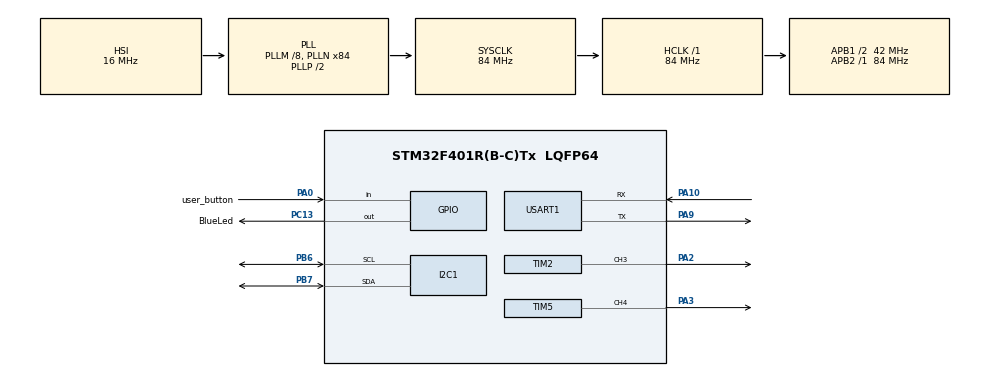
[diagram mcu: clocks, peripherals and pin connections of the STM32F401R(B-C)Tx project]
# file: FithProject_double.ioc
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I2C1.AddressingMode=I2C_ADDRESSINGMODE_7BIT
I2C1.OwnAddress=0x10
Mcu.Family=STM32F4
Mcu.Name=STM32F401R(B-C)Tx
Mcu.Package=LQFP64
NVIC.I2C1_ER_IRQn=true\:0\:0\:false\:false\:true\:true\:true\:true
NVIC.I2C1_EV_IRQn=true\:0\:0\:false\:false\:true\:true\:true\:true
NVIC.PriorityGroup=NVIC_PRIORITYGROUP_4
NVIC.TIM1_CC_IRQn=true\:0\:0\:false\:false\:true\:true\:true\:true
PA0-WKUP.GPIO_Label=user_button
PA0-WKUP.GPIO_PuPd=GPIO_PULLUP
PA0-WKUP.Signal=GPIO_Input
PA10.Mode=Asynchronous
PA10.Signal=USART1_RX
PA13.Mode=Serial_Wire
PA13.Signal=SYS_JTMS-SWDIO
PA14.Mode=Serial_Wire
PA14.Signal=SYS_JTCK-SWCLK
PA2.Signal=S_TIM2_CH3
PA3.Signal=S_TIM5_CH4
PA9.Mode=Asynchronous
PA9.Signal=USART1_TX
PB6.GPIO_Pu=GPIO_PULLUP
PB6.Mode=I2C
PB6.Signal=I2C1_SCL
PB7.GPIO_Pu=GPIO_PULLUP
PB7.Mode=I2C
PB7.Signal=I2C1_SDA
PC13-ANTI_TAMP.GPIO_Label=BlueLed
PC13-ANTI_TAMP.Signal=GPIO_Output
PH0\ -\ OSC_IN.Mode=HSE-External-Oscillator
PH0\ -\ OSC_IN.Signal=RCC_OSC_IN
PH1\ -\ OSC_OUT.Mode=HSE-External-Oscillator
PH1\ -\ OSC_OUT.Signal=RCC_OSC_OUT
ProjectManager.HeapSize=0x200
ProjectManager.StackSize=0x400
ProjectManager.TargetToolchain=STM32CubeIDE
RCC.48MHZClocksFreq_Value=42000000
RCC.AHBFreq_Value=84000000
RCC.APB1CLKDivider=RCC_HCLK_DIV2
RCC.APB1Freq_Value=42000000
RCC.APB1TimFreq_Value=84000000
RCC.APB2Freq_Value=84000000
RCC.APB2TimFreq_Value=84000000
RCC.CortexFreq_Value=84000000
RCC.HCLKFreq_Value=84000000
RCC.HSE_VALUE=25000000
RCC.HSI_VALUE=16000000
RCC.LSE_VALUE=32768
RCC.PLLM=8
RCC.PLLN=84
RCC.SYSCLKFreq_VALUE=84000000
RCC.SYSCLKSource=RCC_SYSCLKSOURCE_PLLCLK
RCC.VCOOutputFreq_Value=168000000
SH.S_TIM2_CH3.0=TIM2_CH3,Output Compare3 CH3
SH.S_TIM5_CH4.0=TIM5_CH4,Output Compare4 CH4
TIM1.Channel-Output\ Compare1\ No\ Output=TIM_CHANNEL_1
TIM1.Period=8400-1
TIM1.Prescaler=10000-1
TIM2.Channel-Output\ Compare3\ CH3=TIM_CHANNEL_3
TIM2.OCMode_3=TIM_OCMODE_TOGGLE
TIM2.Period=600000
TIM2.Prescaler=7
TIM5.Channel-Output\ Compare4\ CH4=TIM_CHANNEL_4
TIM5.OCMode_4=TIM_OCMODE_TOGGLE
TIM5.Period=600000
TIM5.Prescaler=7
USART1.VirtualMode=VM_ASYNC
VP_TIM1_VS_ClockSourceINT.Mode=Internal
VP_TIM1_VS_no_output1.Mode=Output Compare1 No Output
VP_TIM2_VS_ClockSourceINT.Mode=Internal
VP_TIM5_VS_ClockSourceINT.Mode=Internal
board=custom

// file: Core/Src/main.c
/* USER CODE BEGIN Header */
/*

   Первый байт - тип посылки. 0x10 - данные, 0x30 - команда
   длина всегда фиксированная - ШЕСТЬ байт. (тип, 4 нагрузки и псввдоCRC)

*/

/* USER CODE END Header */
#include "main.h"

/* USER CODE BEGIN Includes */

#include <stdio.h>
#include <string.h>

#include <inttypes.h>
#include <stdarg.h>

#include <i2c_slave_u.h>
#include <speed_man.h>

//for printf
#include  <errno.h>
#include  <sys/unistd.h> // STDOUT_FILENO, STDERR_FILENO
/* size_t *strlen (const char *str); */

/* USER CODE END Includes */

/* USER CODE BEGIN PTD */

/* USER CODE BEGIN PD */

/* Buffer used for transmission */

/* Buffer used for reception */

/* USER CODE END PTD */

/* USER CODE BEGIN PD */
#define MASTER_W_CMD 0x77

/* USER CODE END PTD */

/* Private define ------------------------------------------------------------*/
/* USER CODE BEGIN PD */

uint8_t pseudo_checksum(uint8_t *array, uint32_t size);

/* USER CODE END PD */

I2C_HandleTypeDef hi2c1;

TIM_HandleTypeDef htim1;
TIM_HandleTypeDef htim2;
TIM_HandleTypeDef htim5;

UART_HandleTypeDef huart1;

#define COUNTOF(__BUFFER__)   (sizeof(__BUFFER__) / sizeof(*(__BUFFER__)))
#define TXBUFFERSIZE                      (COUNTOF(aTxBuffer))
#define RXBUFFERSIZE                      TXBUFFERSIZE
//TODO 5 isn't correct

#define BufferSIZE 5

uint8_t i2c_received = 0 ;

uint8_t not_i2c_buffer[BufferSIZE];

uint8_t device_addr = 0x10; //I2C_DEVICE_ADDRESS;

uint8_t secu_tick = 0;

uint16_t receive_counters[]  = {0, 0};

whl_chnl *whl_arr[2];

void SystemClock_Config(void);
static void MX_GPIO_Init(void);
static void MX_I2C1_Init(void);
static void MX_TIM2_Init(void);
static void MX_TIM5_Init(void);
static void MX_USART1_UART_Init(void);
static void MX_TIM1_Init(void);

/* USER CODE BEGIN 0 */

// this is for printf

int _write(int file, char *data, int len)
{
   if ((file != STDOUT_FILENO) && (file != STDERR_FILENO))
   {
      errno = EBADF;
      return -1;
   }

   // arbitrary timeout 1000
   HAL_StatusTypeDef status =
      HAL_UART_Transmit(&huart1, (uint8_t*)data, len, 1000);

   // return # of bytes written - as best we can tell
   return (status == HAL_OK ? len : 0);
}

void HAL_TIM_PeriodElapsedCallback(TIM_HandleTypeDef *htim)
{

    /* uint8_t test_str[] = "Ticki\r\n\0"; */

    if (htim->Instance == TIM1) {
        secu_tick = 1;
        /* HAL_UART_Transmit(&huart1, test_str, strlen((char *)test_str), 30); */
    }

    /* else if (htim->Instance == TIM2) { */
        /* HAL_GPIO_TogglePin(GPIOA, GPIO_PIN_0); */
    /* } */
    /* else if (htim->Instance == TIM5) { */
        /* HAL_GPIO_TogglePin(GPIOA, GPIO_PIN_1); */
    /* } */

}

uint8_t pseudo_checksum(uint8_t *array, uint32_t size)
{
    uint8_t cs = 0;

    while (size--) cs ^= *array++;

    /* printf("int: %d\t\n", cs); */
    return cs;
}

/* USER CODE END 0 */

int main(void)
{

  /* MCU Configuration--------------------------------------------------------*/

  /* Reset of all peripherals, Initializes the Flash interface and the Systick. */
  HAL_Init();

  /* USER CODE BEGIN Init */

  /* RCC->APB1ENR |= (1<<21);  // enable I2C CLOCK */
  /* RCC->AHB1ENR |= (1<<1);  // Enable GPIOB CLOCK */

  /* USER CODE END Init */

  /* Configure the system clock */
  SystemClock_Config();

  /* Initialize all configured peripherals */
  MX_GPIO_Init();
  MX_I2C1_Init();
  MX_TIM1_Init();
  MX_TIM2_Init();
  MX_TIM5_Init();
  MX_USART1_UART_Init();
  /* USER CODE BEGIN 2 */

    HAL_TIM_Base_Start_IT(&htim1);
    HAL_TIM_Base_Start_IT(&htim2);
    HAL_TIM_Base_Start_IT(&htim5);

    HAL_TIM_OC_Start_IT(&htim1, TIM_CHANNEL_1);
    HAL_TIM_OC_Start_IT(&htim2, TIM_CHANNEL_3);
    HAL_TIM_OC_Start_IT(&htim5, TIM_CHANNEL_4);

  if(HAL_I2C_EnableListen_IT(&hi2c1) != HAL_OK)
  {
    /* Transfer error in reception process */
    Error_Handler();
  }

    printf("Uart Debug through printf is active\n");

  /* USER CODE END 2 */

  /* Infinite loop */
  /* USER CODE BEGIN WHILE */

    /* int arr_WhRPMs[] = {0, 0}; */

    uint8_t chsum;
    /* uint8_t test; */
    /* test = 1; */

    whl_chnl fl_whl_s = {numXL, &htim2, 0, 12, 0, 0};
    whl_chnl *p_xl_whl;
    p_xl_whl = &fl_whl_s;

    whl_chnl rr_whl_s = {numXR, &htim5, 0, 12, 0, 0};
    whl_chnl *p_xr_whl;
    p_xr_whl = &rr_whl_s;

    whl_arr[numXL] = p_xl_whl;
    whl_arr[numXR] = p_xr_whl;

    /* uint8_t testbuf[] = {10, 20, 30, 40, 50}; */

  while (1)
  {
    /* USER CODE END WHILE */

    /* USER CODE BEGIN 3 */
      if (i2c_received == 1){
          i2c_received = 0;

      /* HAL_Delay(100); */

        /* HAL_UART_Transmit(&huart1, test_, strlen((char *)test_), 30); */

      /* if (test == 1){ */

        chsum = pseudo_checksum(not_i2c_buffer, 5);
        /* printf("sum: %d\n\t", chsum); */

        if (chsum == not_i2c_buffer[5]){
            /* printf("correct\t\n"); */

            /* printf("noT\n\t"); */
            receive_counters[1] ++ ;

            //здесь полезная работа. Вызов функций
            if (not_i2c_buffer[0] == MASTER_W_CMD){
                // обрабатываю

                // пропускаю первый элемент (тип команды).
            TWI_deal(not_i2c_buffer);

            }
            else if (not_i2c_buffer[0] == 0x30){
            }
            else{
                //добавить обработчик/регистратор ошибок
            }
        }
        else{
            /* printf("badly_written\t\n"); */
            receive_counters[0] ++ ;
        }
      }

    if (secu_tick == 1){
        printf("res ok: %d, troubles: %d\n\r",  receive_counters[1], receive_counters[0]);
        receive_counters[0]  = 0;
        receive_counters[1]  = 0;

        secu_tick = 0;

    }

  }
  /* USER CODE END 3 */
}

void SystemClock_Config(void)
{
  RCC_OscInitTypeDef RCC_OscInitStruct = {0};
  RCC_ClkInitTypeDef RCC_ClkInitStruct = {0};

  /** Configure the main internal regulator output voltage
  */
  __HAL_RCC_PWR_CLK_ENABLE();
  __HAL_PWR_VOLTAGESCALING_CONFIG(PWR_REGULATOR_VOLTAGE_SCALE2);

  /** Initializes the RCC Oscillators according to the specified parameters
  * in the RCC_OscInitTypeDef structure.
  */
  RCC_OscInitStruct.OscillatorType = RCC_OSCILLATORTYPE_HSI;
  RCC_OscInitStruct.HSIState = RCC_HSI_ON;
  RCC_OscInitStruct.HSICalibrationValue = RCC_HSICALIBRATION_DEFAULT;
  RCC_OscInitStruct.PLL.PLLState = RCC_PLL_ON;
  RCC_OscInitStruct.PLL.PLLSource = RCC_PLLSOURCE_HSI;
  RCC_OscInitStruct.PLL.PLLM = 8;
  RCC_OscInitStruct.PLL.PLLN = 84;
  RCC_OscInitStruct.PLL.PLLP = RCC_PLLP_DIV2;
  RCC_OscInitStruct.PLL.PLLQ = 4;
  if (HAL_RCC_OscConfig(&RCC_OscInitStruct) != HAL_OK)
  {
    Error_Handler();
  }

  /** Initializes the CPU, AHB and APB buses clocks
  */
  RCC_ClkInitStruct.ClockType = RCC_CLOCKTYPE_HCLK|RCC_CLOCKTYPE_SYSCLK
                              |RCC_CLOCKTYPE_PCLK1|RCC_CLOCKTYPE_PCLK2;
  RCC_ClkInitStruct.SYSCLKSource = RCC_SYSCLKSOURCE_PLLCLK;
  RCC_ClkInitStruct.AHBCLKDivider = RCC_SYSCLK_DIV1;
  RCC_ClkInitStruct.APB1CLKDivider = RCC_HCLK_DIV2;
  RCC_ClkInitStruct.APB2CLKDivider = RCC_HCLK_DIV1;

  if (HAL_RCC_ClockConfig(&RCC_ClkInitStruct, FLASH_LATENCY_2) != HAL_OK)
  {
    Error_Handler();
  }
}

static void MX_I2C1_Init(void)
{

  hi2c1.Instance = I2C1;
  hi2c1.Init.ClockSpeed = 100000;
  hi2c1.Init.DutyCycle = I2C_DUTYCYCLE_2;
  hi2c1.Init.OwnAddress1 = 32;
  hi2c1.Init.AddressingMode = I2C_ADDRESSINGMODE_7BIT;
  hi2c1.Init.DualAddressMode = I2C_DUALADDRESS_DISABLE;
  hi2c1.Init.OwnAddress2 = 0;
  hi2c1.Init.GeneralCallMode = I2C_GENERALCALL_DISABLE;
  hi2c1.Init.NoStretchMode = I2C_NOSTRETCH_DISABLE;
  if (HAL_I2C_Init(&hi2c1) != HAL_OK)
  {
    Error_Handler();
  }

}

static void MX_TIM1_Init(void)
{

  TIM_ClockConfigTypeDef sClockSourceConfig = {0};
  TIM_MasterConfigTypeDef sMasterConfig = {0};
  TIM_OC_InitTypeDef sConfigOC = {0};
  TIM_BreakDeadTimeConfigTypeDef sBreakDeadTimeConfig = {0};

  htim1.Instance = TIM1;
  htim1.Init.Prescaler = 10000-1;
  htim1.Init.CounterMode = TIM_COUNTERMODE_UP;
  htim1.Init.Period = 8400-1;
  htim1.Init.ClockDivision = TIM_CLOCKDIVISION_DIV1;
  htim1.Init.RepetitionCounter = 0;
  htim1.Init.AutoReloadPreload = TIM_AUTORELOAD_PRELOAD_DISABLE;
  if (HAL_TIM_Base_Init(&htim1) != HAL_OK)
  {
    Error_Handler();
  }
  sClockSourceConfig.ClockSource = TIM_CLOCKSOURCE_INTERNAL;
  if (HAL_TIM_ConfigClockSource(&htim1, &sClockSourceConfig) != HAL_OK)
  {
    Error_Handler();
  }
  if (HAL_TIM_OC_Init(&htim1) != HAL_OK)
  {
    Error_Handler();
  }
  sMasterConfig.MasterOutputTrigger = TIM_TRGO_RESET;
  sMasterConfig.MasterSlaveMode = TIM_MASTERSLAVEMODE_DISABLE;
  if (HAL_TIMEx_MasterConfigSynchronization(&htim1, &sMasterConfig) != HAL_OK)
  {
    Error_Handler();
  }
  sConfigOC.OCMode = TIM_OCMODE_TIMING;
  sConfigOC.Pulse = 0;
  sConfigOC.OCPolarity = TIM_OCPOLARITY_HIGH;
  sConfigOC.OCNPolarity = TIM_OCNPOLARITY_HIGH;
  sConfigOC.OCFastMode = TIM_OCFAST_DISABLE;
  sConfigOC.OCIdleState = TIM_OCIDLESTATE_RESET;
  sConfigOC.OCNIdleState = TIM_OCNIDLESTATE_RESET;
  if (HAL_TIM_OC_ConfigChannel(&htim1, &sConfigOC, TIM_CHANNEL_1) != HAL_OK)
  {
    Error_Handler();
  }
  sBreakDeadTimeConfig.OffStateRunMode = TIM_OSSR_DISABLE;
  sBreakDeadTimeConfig.OffStateIDLEMode = TIM_OSSI_DISABLE;
  sBreakDeadTimeConfig.LockLevel = TIM_LOCKLEVEL_OFF;
  sBreakDeadTimeConfig.DeadTime = 0;
  sBreakDeadTimeConfig.BreakState = TIM_BREAK_DISABLE;
  sBreakDeadTimeConfig.BreakPolarity = TIM_BREAKPOLARITY_HIGH;
  sBreakDeadTimeConfig.AutomaticOutput = TIM_AUTOMATICOUTPUT_DISABLE;
  if (HAL_TIMEx_ConfigBreakDeadTime(&htim1, &sBreakDeadTimeConfig) != HAL_OK)
  {
    Error_Handler();
  }

}

static void MX_TIM2_Init(void)
{

  TIM_ClockConfigTypeDef sClockSourceConfig = {0};
  TIM_MasterConfigTypeDef sMasterConfig = {0};
  TIM_OC_InitTypeDef sConfigOC = {0};

  htim2.Instance = TIM2;
  htim2.Init.Prescaler = 7;
  htim2.Init.CounterMode = TIM_COUNTERMODE_UP;
  htim2.Init.Period = 600000;
  htim2.Init.ClockDivision = TIM_CLOCKDIVISION_DIV1;
  htim2.Init.AutoReloadPreload = TIM_AUTORELOAD_PRELOAD_DISABLE;
  if (HAL_TIM_Base_Init(&htim2) != HAL_OK)
  {
    Error_Handler();
  }
  sClockSourceConfig.ClockSource = TIM_CLOCKSOURCE_INTERNAL;
  if (HAL_TIM_ConfigClockSource(&htim2, &sClockSourceConfig) != HAL_OK)
  {
    Error_Handler();
  }
  if (HAL_TIM_OC_Init(&htim2) != HAL_OK)
  {
    Error_Handler();
  }
  sMasterConfig.MasterOutputTrigger = TIM_TRGO_RESET;
  sMasterConfig.MasterSlaveMode = TIM_MASTERSLAVEMODE_DISABLE;
  if (HAL_TIMEx_MasterConfigSynchronization(&htim2, &sMasterConfig) != HAL_OK)
  {
    Error_Handler();
  }
  sConfigOC.OCMode = TIM_OCMODE_TOGGLE;
  sConfigOC.Pulse = 0;
  sConfigOC.OCPolarity = TIM_OCPOLARITY_HIGH;
  sConfigOC.OCFastMode = TIM_OCFAST_DISABLE;
  if (HAL_TIM_OC_ConfigChannel(&htim2, &sConfigOC, TIM_CHANNEL_3) != HAL_OK)
  {
    Error_Handler();
  }
  HAL_TIM_MspPostInit(&htim2);

}

static void MX_TIM5_Init(void)
{

  TIM_ClockConfigTypeDef sClockSourceConfig = {0};
  TIM_MasterConfigTypeDef sMasterConfig = {0};
  TIM_OC_InitTypeDef sConfigOC = {0};

  htim5.Instance = TIM5;
  htim5.Init.Prescaler = 7;
  htim5.Init.CounterMode = TIM_COUNTERMODE_UP;
  htim5.Init.Period = 600000;
  htim5.Init.ClockDivision = TIM_CLOCKDIVISION_DIV1;
  htim5.Init.AutoReloadPreload = TIM_AUTORELOAD_PRELOAD_DISABLE;
  if (HAL_TIM_Base_Init(&htim5) != HAL_OK)
  {
    Error_Handler();
  }
  sClockSourceConfig.ClockSource = TIM_CLOCKSOURCE_INTERNAL;
  if (HAL_TIM_ConfigClockSource(&htim5, &sClockSourceConfig) != HAL_OK)
  {
    Error_Handler();
  }
  if (HAL_TIM_OC_Init(&htim5) != HAL_OK)
  {
    Error_Handler();
  }
  sMasterConfig.MasterOutputTrigger = TIM_TRGO_RESET;
  sMasterConfig.MasterSlaveMode = TIM_MASTERSLAVEMODE_DISABLE;
  if (HAL_TIMEx_MasterConfigSynchronization(&htim5, &sMasterConfig) != HAL_OK)
  {
    Error_Handler();
  }
  sConfigOC.OCMode = TIM_OCMODE_TOGGLE;
  sConfigOC.Pulse = 0;
  sConfigOC.OCPolarity = TIM_OCPOLARITY_HIGH;
  sConfigOC.OCFastMode = TIM_OCFAST_DISABLE;
  if (HAL_TIM_OC_ConfigChannel(&htim5, &sConfigOC, TIM_CHANNEL_4) != HAL_OK)
  {
    Error_Handler();
  }
  HAL_TIM_MspPostInit(&htim5);

}

static void MX_USART1_UART_Init(void)
{

  huart1.Instance = USART1;
  huart1.Init.BaudRate = 115200;
  huart1.Init.WordLength = UART_WORDLENGTH_8B;
  huart1.Init.StopBits = UART_STOPBITS_1;
  huart1.Init.Parity = UART_PARITY_NONE;
  huart1.Init.Mode = UART_MODE_TX_RX;
  huart1.Init.HwFlowCtl = UART_HWCONTROL_NONE;
  huart1.Init.OverSampling = UART_OVERSAMPLING_16;
  if (HAL_UART_Init(&huart1) != HAL_OK)
  {
    Error_Handler();
  }

}

static void MX_GPIO_Init(void)
{
  GPIO_InitTypeDef GPIO_InitStruct = {0};

  /* GPIO Ports Clock Enable */
  __HAL_RCC_GPIOC_CLK_ENABLE();
  __HAL_RCC_GPIOH_CLK_ENABLE();
  __HAL_RCC_GPIOA_CLK_ENABLE();
  __HAL_RCC_GPIOB_CLK_ENABLE();

  /*Configure GPIO pin Output Level */
  HAL_GPIO_WritePin(BlueLed_GPIO_Port, BlueLed_Pin, GPIO_PIN_RESET);

  /*Configure GPIO pin : BlueLed_Pin */
  GPIO_InitStruct.Pin = BlueLed_Pin;
  GPIO_InitStruct.Mode = GPIO_MODE_OUTPUT_PP;
  GPIO_InitStruct.Pull = GPIO_NOPULL;
  GPIO_InitStruct.Speed = GPIO_SPEED_FREQ_LOW;
  HAL_GPIO_Init(BlueLed_GPIO_Port, &GPIO_InitStruct);

  /*Configure GPIO pin : user_button_Pin */
  GPIO_InitStruct.Pin = user_button_Pin;
  GPIO_InitStruct.Mode = GPIO_MODE_INPUT;
  GPIO_InitStruct.Pull = GPIO_PULLUP;
  HAL_GPIO_Init(user_button_GPIO_Port, &GPIO_InitStruct);

}

void Error_Handler(void)
{
  __disable_irq();
  while (1)
  {
  }
}
